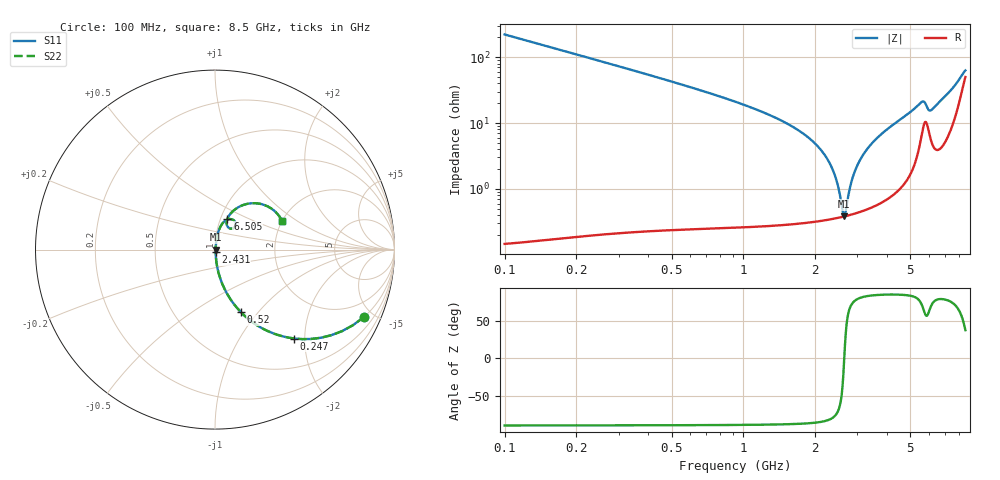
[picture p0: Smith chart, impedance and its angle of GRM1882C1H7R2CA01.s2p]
!Murata Part Number: GRM1882C1H7R2CA01
!These Parameters are Measured in Series Mode Connection
!Data Generated on Mar 30, 2021
!  o--ll--o
!Port1  Port2
!  o------o
!Operation Temp=25[degC], DC Bias Voltage=0[V]
!Freq. Start=100[MHz] Stop=9[GHz] 401[Steps]
# Hz S RI R 50
!Freq.(Hz) S11(Real) S11(Imag) S21(Real) S21(Imag) S12(Real) S12(Imag) S22(Real) S22(Imag)
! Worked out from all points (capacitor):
!   401 points, 100 MHz to 8.5 GHz, reference 50 ohm
!   read as one part in series: C = 7.2 pF near 142 MHz
!   lowest |Z| = 382 mohm at 2.641 GHz (marker M1)
!   series resonance near 2.643 GHz, so ESL is about 500 pH
!   S11 on the Smith chart (normalised r, x): 100 MHz: 1.00, -4.41; 247 MHz: 1.00, -1.77; 520 MHz: 1.00, -0.82; 2.431 GHz: 1.01, -0.03; 6.505 GHz: 1.08, +0.39; 8.5 GHz: 2.00, +0.77
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1e8  0.8295 -0.3757  0.1705 0.3757  0.1705 0.3757  0.8295 -0.3757
2.47e8  0.4403 -0.4953  0.5597 0.4953  0.5597 0.4953  0.4403 -0.4953
3.73e8  0.253 -0.4328  0.747 0.4328  0.747 0.4328  0.253 -0.4328
5.2e8  0.1447 -0.3489  0.8553 0.3489  0.8553 0.3489  0.1447 -0.3489
8.56e8  0.0532 -0.219  0.9468 0.219  0.9468 0.219  0.0532 -0.219
1.507e9  0.0127 -0.0986  0.9873 0.0986  0.9873 0.0986  0.0127 -0.0986
2.095e9  0.00484 -0.0399  0.9952 0.0399  0.9952 0.0399  0.00484 -0.0399
2.284e9  0.00404 -0.0251  0.996 0.0251  0.996 0.0251  0.00404 -0.0251
2.431e9  0.00377 -0.0144  0.9962 0.0144  0.9962 0.0144  0.00377 -0.0144
2.599e9  0.00376 -0.00293  0.9962 0.00293  0.9962 0.00293  0.00376 -0.00293
2.641e9  0.0038 -0.00016  0.9962 0.00016  0.9962 0.00016  0.0038 -0.00016
2.809e9  0.00414 0.0106  0.9959 -0.0106  0.9959 -0.0106  0.00414 0.0106
2.914e9  0.00447 0.0171  0.9955 -0.0171  0.9955 -0.0171  0.00447 0.0171
3.124e9  0.00541 0.0296  0.9946 -0.0296  0.9946 -0.0296  0.00541 0.0296
3.397e9  0.00714 0.0452  0.9929 -0.0452  0.9929 -0.0452  0.00714 0.0452
4.3e9  0.0176 0.0953  0.9824 -0.0953  0.9824 -0.0953  0.0176 0.0953
5.707e9  0.1134 0.1517  0.8866 -0.1517  0.8866 -0.1517  0.1134 0.1517
6.022e9  0.0774 0.1211  0.9226 -0.1211  0.9226 -0.1211  0.0774 0.1211
6.505e9  0.0695 0.1726  0.9305 -0.1726  0.9305 -0.1726  0.0695 0.1726
7.114e9  0.1107 0.2232  0.8893 -0.2232  0.8893 -0.2232  0.1107 0.2232
7.954e9  0.2447 0.2563  0.7553 -0.2563  0.7553 -0.2563  0.2447 0.2563
8.5e9  0.3736 0.16  0.6264 -0.16  0.6264 -0.16  0.3736 0.16
